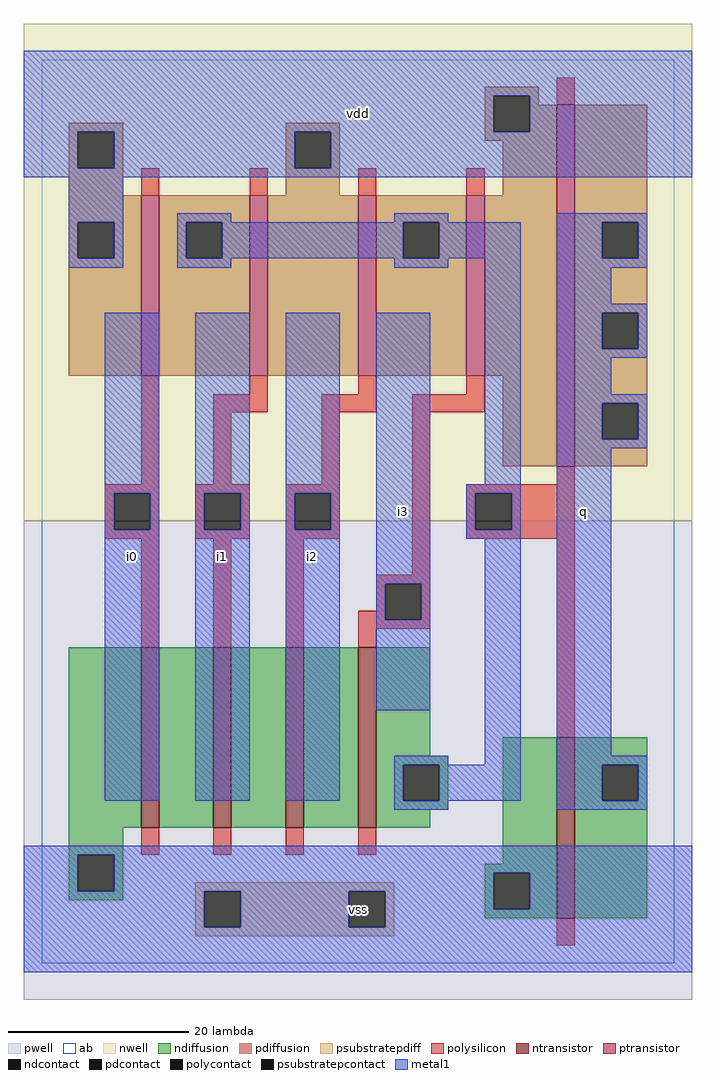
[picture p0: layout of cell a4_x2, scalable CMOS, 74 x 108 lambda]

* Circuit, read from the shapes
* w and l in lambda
.subckt a4_x2 i0 i1 i2 i3 q vdd vss
M1 n1 i0 vss vss nfet w=20 l=2
M2 n2 i1 n1 vss nfet w=20 l=2
M3 n3 i2 n2 vss nfet w=20 l=2
M4 n4 i3 n3 vss nfet w=20 l=2
M5 q n4 vss vss nfet w=20 l=2
M6 n4 i0 vdd n5 pfet w=20 l=2
M7 vdd i1 n4 n5 pfet w=20 l=2
M8 n4 i2 vdd n5 pfet w=20 l=2
M9 vdd i3 n4 n5 pfet w=20 l=2
M10 q n4 vdd n5 pfet w=40 l=2
.ends

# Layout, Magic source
magic
tech scmos
<< ab >>
rect 0 0 70 100
<< pwell >>
rect -2 -4 72 49
<< nwell >>
rect -2 49 72 104
<< polysilicon >>
rect 57 95 59 98
rect 11 85 13 88
rect 23 85 25 88
rect 35 85 37 88
rect 47 85 49 88
rect 11 53 13 65
rect 23 63 25 65
rect 35 63 37 65
rect 47 63 49 65
rect 19 61 25 63
rect 31 61 37 63
rect 41 61 49 63
rect 19 53 21 61
rect 31 53 33 61
rect 7 52 13 53
rect 7 48 8 52
rect 12 48 13 52
rect 7 47 13 48
rect 17 52 23 53
rect 17 48 18 52
rect 22 48 23 52
rect 17 47 23 48
rect 27 52 33 53
rect 27 48 28 52
rect 32 48 33 52
rect 27 47 33 48
rect 11 35 13 47
rect 19 35 21 47
rect 27 35 29 47
rect 41 43 43 61
rect 57 53 59 55
rect 47 52 59 53
rect 47 48 48 52
rect 52 48 59 52
rect 47 47 59 48
rect 37 42 43 43
rect 37 39 38 42
rect 35 38 38 39
rect 42 38 43 42
rect 35 37 43 38
rect 35 35 37 37
rect 57 25 59 47
rect 11 12 13 15
rect 19 12 21 15
rect 27 12 29 15
rect 35 12 37 15
rect 57 2 59 5
<< ndiffusion >>
rect 3 15 11 35
rect 13 15 19 35
rect 21 15 27 35
rect 29 15 35 35
rect 37 23 43 35
rect 37 22 45 23
rect 37 18 40 22
rect 44 18 45 22
rect 37 17 45 18
rect 37 15 43 17
rect 3 12 9 15
rect 3 8 4 12
rect 8 8 9 12
rect 51 11 57 25
rect 49 10 57 11
rect 3 7 9 8
rect 49 6 50 10
rect 54 6 57 10
rect 49 5 57 6
rect 59 22 67 25
rect 59 18 62 22
rect 66 18 67 22
rect 59 5 67 18
<< pdiffusion >>
rect 49 96 55 97
rect 3 92 9 93
rect 3 88 4 92
rect 8 88 9 92
rect 27 92 33 93
rect 27 88 28 92
rect 32 88 33 92
rect 49 92 50 96
rect 54 95 55 96
rect 54 92 57 95
rect 49 91 57 92
rect 3 85 9 88
rect 27 85 33 88
rect 51 85 57 91
rect 3 82 11 85
rect 3 78 4 82
rect 8 78 11 82
rect 3 65 11 78
rect 13 82 23 85
rect 13 78 16 82
rect 20 78 23 82
rect 13 65 23 78
rect 25 65 35 85
rect 37 82 47 85
rect 37 78 40 82
rect 44 78 47 82
rect 37 65 47 78
rect 49 65 57 85
rect 51 55 57 65
rect 59 82 67 95
rect 59 78 62 82
rect 66 78 67 82
rect 59 72 67 78
rect 59 68 62 72
rect 66 68 67 72
rect 59 62 67 68
rect 59 58 62 62
rect 66 58 67 62
rect 59 55 67 58
<< metal1 >>
rect -2 96 72 101
rect -2 92 50 96
rect 54 92 72 96
rect -2 88 4 92
rect 8 88 28 92
rect 32 88 72 92
rect -2 87 72 88
rect 3 82 9 87
rect 3 78 4 82
rect 8 78 9 82
rect 3 77 9 78
rect 15 82 21 83
rect 39 82 45 83
rect 57 82 67 83
rect 15 78 16 82
rect 20 78 40 82
rect 44 78 53 82
rect 15 77 21 78
rect 39 77 45 78
rect 7 52 13 72
rect 7 48 8 52
rect 12 48 13 52
rect 7 18 13 48
rect 17 52 23 72
rect 17 48 18 52
rect 22 48 23 52
rect 17 18 23 48
rect 27 52 33 72
rect 27 48 28 52
rect 32 48 33 52
rect 27 18 33 48
rect 37 42 43 72
rect 49 53 53 78
rect 47 52 53 53
rect 47 48 48 52
rect 52 48 53 52
rect 47 47 53 48
rect 37 38 38 42
rect 42 38 43 42
rect 37 28 43 38
rect 39 22 45 23
rect 49 22 53 47
rect 39 18 40 22
rect 44 18 53 22
rect 57 78 62 82
rect 66 78 67 82
rect 57 77 67 78
rect 57 73 63 77
rect 57 72 67 73
rect 57 68 62 72
rect 66 68 67 72
rect 57 67 67 68
rect 57 63 63 67
rect 57 62 67 63
rect 57 58 62 62
rect 66 58 67 62
rect 57 57 67 58
rect 57 23 63 57
rect 57 22 67 23
rect 57 18 62 22
rect 66 18 67 22
rect 39 17 45 18
rect 57 17 67 18
rect -2 12 72 13
rect -2 8 4 12
rect 8 10 72 12
rect 8 8 50 10
rect -2 4 18 8
rect 22 4 34 8
rect 38 6 50 8
rect 54 6 72 10
rect 38 4 72 6
rect -2 -1 72 4
<< ntransistor >>
rect 11 15 13 35
rect 19 15 21 35
rect 27 15 29 35
rect 35 15 37 35
rect 57 5 59 25
<< ptransistor >>
rect 11 65 13 85
rect 23 65 25 85
rect 35 65 37 85
rect 47 65 49 85
rect 57 55 59 95
<< polycontact >>
rect 8 48 12 52
rect 18 48 22 52
rect 28 48 32 52
rect 48 48 52 52
rect 38 38 42 42
<< ndcontact >>
rect 40 18 44 22
rect 4 8 8 12
rect 50 6 54 10
rect 62 18 66 22
<< pdcontact >>
rect 4 88 8 92
rect 28 88 32 92
rect 50 92 54 96
rect 4 78 8 82
rect 16 78 20 82
rect 40 78 44 82
rect 62 78 66 82
rect 62 68 66 72
rect 62 58 66 62
<< psubstratepcontact >>
rect 18 4 22 8
rect 34 4 38 8
<< psubstratepdiff >>
rect 17 8 39 9
rect 17 4 18 8
rect 22 4 34 8
rect 38 4 39 8
rect 17 3 39 4
<< labels >>
rlabel metal1 10 45 10 45 6 i0
rlabel metal1 10 45 10 45 6 i0
rlabel metal1 30 45 30 45 6 i2
rlabel metal1 20 45 20 45 6 i1
rlabel metal1 30 45 30 45 6 i2
rlabel metal1 20 45 20 45 6 i1
rlabel psubstratepcontact 35 6 35 6 6 vss
rlabel psubstratepcontact 35 6 35 6 6 vss
rlabel metal1 40 50 40 50 6 i3
rlabel metal1 40 50 40 50 6 i3
rlabel metal1 35 94 35 94 6 vdd
rlabel metal1 35 94 35 94 6 vdd
rlabel metal1 60 50 60 50 6 q
rlabel metal1 60 50 60 50 6 q
<< end >>
